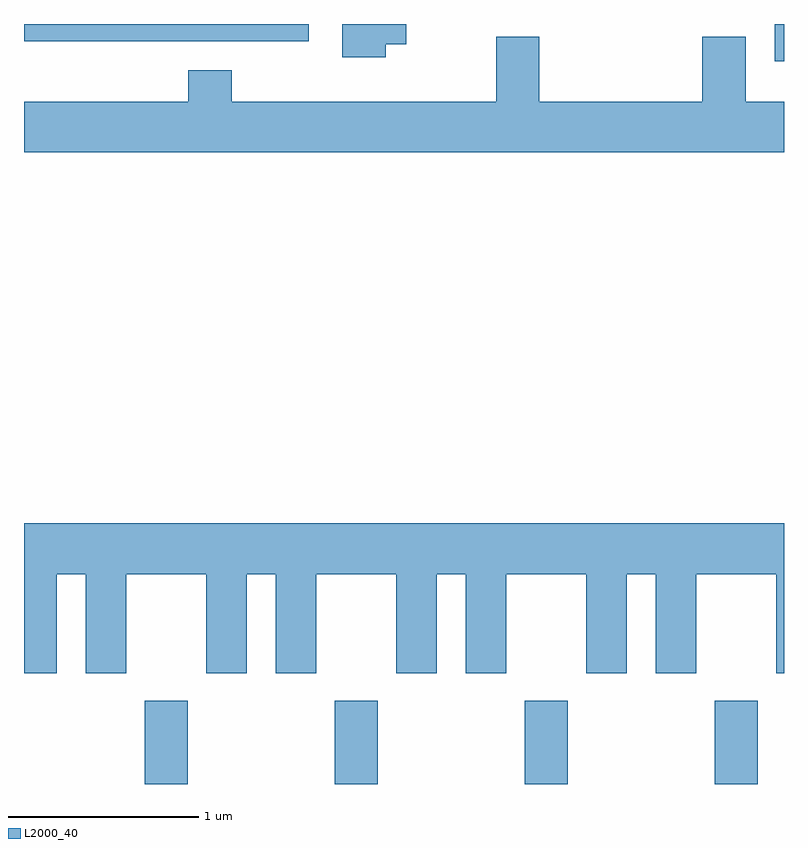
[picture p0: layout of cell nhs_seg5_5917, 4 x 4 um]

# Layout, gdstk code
import gdstk
lib = gdstk.Library(unit=1e-6, precision=1e-09)
def R(c, l, rs):  # rectangles x0, y0, x1, y1
    for r in rs: c.add(gdstk.rectangle(r[:2], r[2:], *l))
def A(c, l, x, y, w, h, nx, ny, dx, dy):  # array of equal rectangles
    R(c, l, [(x+i*dx, y+j*dy, x+i*dx+w, y+j*dy+h) for i in range(nx) for j in range(ny)])
def P(c, l, *ps):  # polygons
    for p in ps: c.add(gdstk.Polygon(p, *l))
L2000_40 = (2000, 40)

nhs_seg5_5917 = lib.new_cell('nhs_seg5_5917')
A(nhs_seg5_5917, L2000_40, 360.246, 1520.072, 0.228, 0.437, 4, 1, 1, 0)
R(nhs_seg5_5917, L2000_40, [(363.561,1523.876,363.611,1524.072), (359.611,1523.981,361.109,1524.072)])
P(nhs_seg5_5917, L2000_40, [(361.514,1523.966),(361.624,1523.966),(361.624,1524.072),(361.286,1524.072),(361.286,1523.896),(361.514,1523.896)],
  [(363.611,1523.664),(363.409,1523.664),(363.409,1524.004),(363.181,1524.004),(363.181,1523.664),(362.324,1523.664),(362.324,1524.004),(362.096,1524.004),(362.096,1523.664),(360.704,1523.664),(360.704,1523.829),(360.476,1523.829),(360.476,1523.664),(359.611,1523.664),(359.611,1523.396),(363.611,1523.396)],
  [(359.784,1521.176),(359.936,1521.176),(359.936,1520.656),(360.149,1520.656),(360.149,1521.176),(360.571,1521.176),(360.571,1520.656),(360.784,1520.656),(360.784,1521.176),(360.936,1521.176),(360.936,1520.656),(361.149,1520.656),(361.149,1521.176),(361.571,1521.176),(361.571,1520.656),(361.784,1520.656),(361.784,1521.176),(361.936,1521.176),(361.936,1520.656),(362.149,1520.656),(362.149,1521.176),(362.571,1521.176),(362.571,1520.656),(362.784,1520.656),(362.784,1521.176),(362.936,1521.176),(362.936,1520.656),(363.149,1520.656),(363.149,1521.176),(363.571,1521.176),(363.571,1520.656),(363.611,1520.656),(363.611,1521.444),(359.611,1521.444),(359.611,1520.656),(359.784,1520.656)])

lib.write_gds('nhs_seg5_5917.gds')
